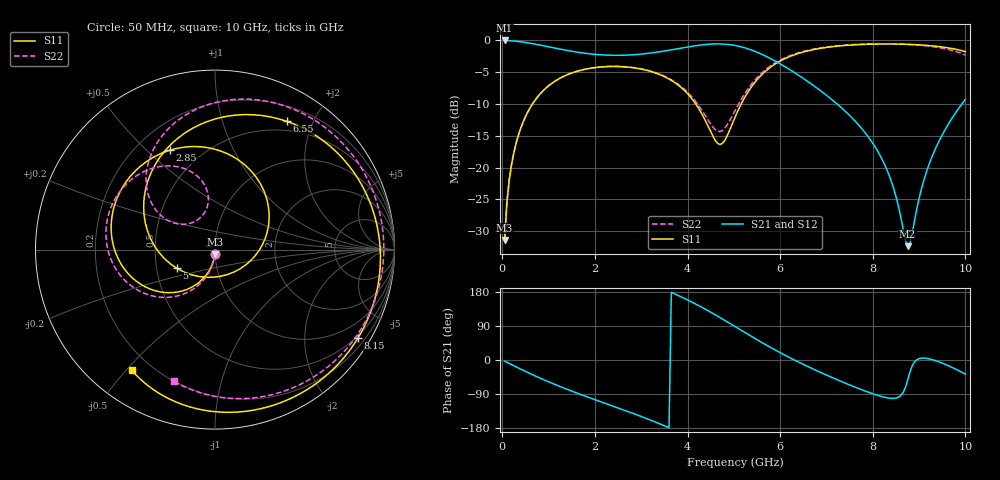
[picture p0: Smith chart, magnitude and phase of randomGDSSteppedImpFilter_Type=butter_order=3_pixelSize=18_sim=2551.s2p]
! freq	dB(S11)	phase(S11)	dB(S12)	phase(S12)
!  dB(S21)	phase(S21)	dB(S22)	phase(S22)
!S-par simulation data
#  GHz  S  DB  R 50
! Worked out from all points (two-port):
!   200 points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, 50 MHz to 10 GHz, reference 50 ohm
!   highest |S21| = -0.01 dB at 50 MHz (marker M1); lowest = -32.4 dB at 8.75 GHz (marker M2)
!   |S21| within 3 dB of the highest: start of sweep to 5.832 GHz
!   lowest |S11| = -31.4 dB at 50 MHz (marker M3), VSWR 1.06, Z = 49.8 - j2.68 ohm
!   |S11| at or under -10 dB: start of sweep to 651.2 MHz; 4.177 GHz to 5.158 GHz (981.2 MHz wide, 21 % of centre)
!   |S22| runs from -31.4 to -0.5 dB; largest |S21 - S12| = 0
!   S11 on the Smith chart (normalised r, x): 50 MHz: 1.00, -0.05; 2.85 GHz: 0.34, +0.59; 5 GHz: 0.64, -0.14; 6.55 GHz: 0.38, +1.64; 8.15 GHz: 0.43, -3.46; 10 GHz: 0.13, -0.52
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0.05  -31.39 -93.4  -0.01 -3.1  -0.01 -3.1  -31.39 -93.1
0.1  -25.42 -96.8  -0.02 -6.2  -0.02 -6.2  -25.41 -96.1
0.2  -19.52 -103.4  -0.07 -12.3  -0.07 -12.3  -19.50 -102.0
0.5  -11.99 -122.4  -0.33 -30.1  -0.33 -30.1  -12.00 -118.8
1.05  -6.86 -154.5  -1.09 -60.1  -1.09 -60.1  -6.85 -146.9
1.75  -4.60 169.2  -1.99 -93.5  -1.99 -93.5  -4.59 -177.2
2.85  -4.32 114.2  -2.25 -142.1  -2.25 -142.1  -4.29 141.1
3.4  -5.37 82.8  -1.78 -168.4  -1.78 -168.4  -5.31 120.8
4.2  -10.25 18.8  -0.81 146.2  -0.81 146.2  -9.85 97.5
4.7  -16.37 -78.8  -0.55 112.1  -0.55 112.1  -14.34 123.2
5  -12.51 -154.0  -0.76 90.2  -0.76 90.2  -11.39 146.8
5.05  -11.66 -162.4  -0.83 86.5  -0.83 86.5  -10.71 147.9
5.65  -5.06 129.6  -2.34 43.0  -2.34 43.0  -4.81 131.7
6.1  -2.88 92.6  -4.12 13.0  -4.12 13.0  -2.74 109.8
6.55  -1.73 60.7  -6.23 -14.5  -6.23 -14.5  -1.64 87.4
6.7  -1.48 50.8  -6.99 -23.1  -6.99 -23.1  -1.40 80.0
7.4  -0.80 8.6  -11.11 -60.7  -11.11 -60.7  -0.74 45.9
8.15  -0.57 -31.8  -17.99 -94.9  -17.99 -94.9  -0.53 8.8
8.35  -0.56 -42.0  -21.15 -100.6  -21.15 -100.6  -0.53 -1.5
8.75  -0.62 -61.9  -32.36 -54.5  -32.36 -54.5  -0.62 -22.9
9.45  -0.99 -96.5  -15.55 -5.8  -15.55 -5.8  -1.16 -65.2
10  -1.76 -124.7  -9.26 -37.4  -9.26 -37.4  -2.30 -107.4
